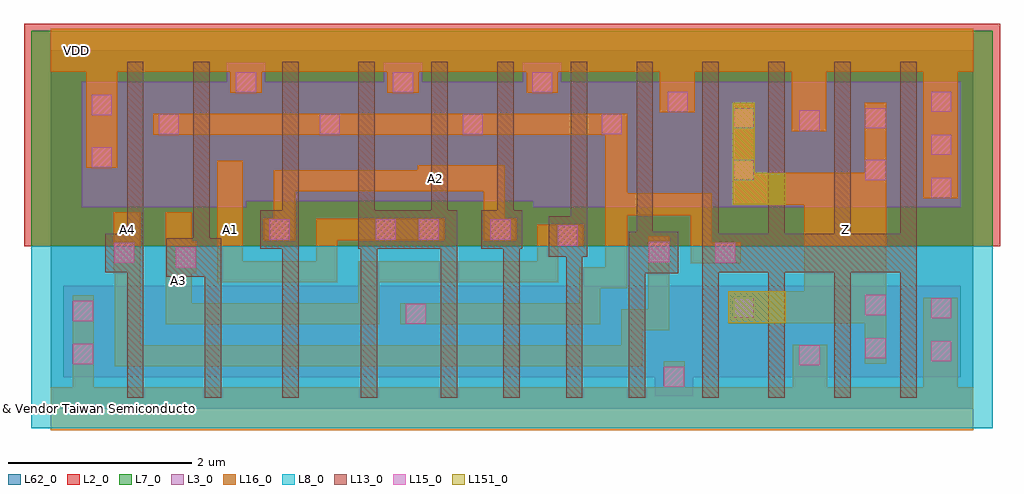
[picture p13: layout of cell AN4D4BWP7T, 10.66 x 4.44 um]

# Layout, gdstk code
import gdstk
lib = gdstk.Library(unit=1e-6, precision=1e-09)
def R(c, l, rs):  # rectangles x0, y0, x1, y1
    for r in rs: c.add(gdstk.rectangle(r[:2], r[2:], *l))
def A(c, l, x, y, w, h, nx, ny, dx, dy):  # array of equal rectangles
    R(c, l, [(x+i*dx, y+j*dy, x+i*dx+w, y+j*dy+h) for i in range(nx) for j in range(ny)])
def P(c, l, *ps):  # polygons
    for p in ps: c.add(gdstk.Polygon(p, *l))
L2_0 = (2, 0)
L3_0 = (3, 0)
L7_0 = (7, 0)
L8_0 = (8, 0)
L13_0 = (13, 0)
L15_0 = (15, 0)
L16_0 = (16, 0)
L62_0 = (62, 0)
L151_0 = (151, 0)

an4d4bwp7t = lib.new_cell('AN4D4BWP7T')
R(an4d4bwp7t, L2_0, [(-0.29,1.775,10.37,4.21)])
P(an4d4bwp7t, L3_0, [(0.34,2.205),(0.34,3.575),(1.925,3.575),(1.925,3.78),(2.345,3.78),(2.345,3.575),(3.64,3.575),(3.64,3.78),(4.06,3.78),(4.06,3.575),(5.16,3.575),(5.16,3.78),(5.58,3.78),(5.58,3.575),(9.94,3.575),(9.94,2.205),(5.27,2.205),(5.27,2.27),(2.135,2.27),(2.135,2.205)],
  [(0.14,0.345),(6.6,0.345),(6.6,0.14),(7.02,0.14),(7.02,0.345),(9.94,0.345),(9.94,1.345),(0.14,1.345)])
R(an4d4bwp7t, L7_0, [(-0.21,1.775,10.29,4.13)])
R(an4d4bwp7t, L8_0, [(-0.21,-0.21,10.29,1.775)])
P(an4d4bwp7t, L13_0, [(0.595,1.495),(0.835,1.495),(0.835,0.125),(1.015,0.125),(1.015,3.795),(0.835,3.795),(0.835,1.915),(0.595,1.915)],
  [(2.53,0.125),(2.53,1.75),(2.29,1.75),(2.29,2.17),(2.53,2.17),(2.53,3.795),(2.71,3.795),(2.71,0.125)],
  [(4.945,0.125),(4.945,1.75),(4.705,1.75),(4.705,2.17),(4.88,2.17),(4.88,3.795),(5.06,3.795),(5.06,2.17),(5.15,2.17),(5.15,1.75),(5.125,1.75),(5.125,0.125)],
  [(7.12,0.125),(7.3,0.125),(7.3,1.495),(7.84,1.495),(7.84,0.125),(8.02,0.125),(8.02,1.495),(8.56,1.495),(8.56,0.125),(8.74,0.125),(8.74,1.495),(9.28,1.495),(9.28,0.125),(9.46,0.125),(9.46,3.795),(9.28,3.795),(9.28,1.915),(8.74,1.915),(8.74,3.795),(8.56,3.795),(8.56,1.915),(8.02,1.915),(8.02,3.795),(7.84,3.795),(7.84,1.915),(7.3,1.915),(7.3,3.795),(7.12,3.795)],
  [(6.315,0.125),(6.315,1.935),(6.4,1.935),(6.4,3.795),(6.58,3.795),(6.58,1.935),(6.855,1.935),(6.855,1.485),(6.495,1.485),(6.495,0.125)],
  [(3.39,0.125),(3.39,1.75),(3.36,1.75),(3.36,3.795),(3.54,3.795),(3.54,2.17),(4.16,2.17),(4.16,3.795),(4.34,3.795),(4.34,2.17),(4.44,2.17),(4.44,0.125),(4.26,0.125),(4.26,1.75),(3.57,1.75),(3.57,0.125)],
  [(1.685,0.125),(1.685,1.445),(1.265,1.445),(1.265,1.865),(1.56,1.865),(1.56,3.795),(1.74,3.795),(1.74,1.865),(1.865,1.865),(1.865,0.125)],
  [(5.63,0.125),(5.63,1.665),(5.44,1.665),(5.44,2.105),(5.68,2.105),(5.68,3.795),(5.86,3.795),(5.86,1.665),(5.81,1.665),(5.81,0.125)])
A(an4d4bwp7t, L15_0, 9.62, 2.305, 0.22, 0.22, 1, 3, 0, 0.47)
R(an4d4bwp7t, L15_0, [(6.7,0.24,6.92,0.46), (8.18,0.475,8.4,0.695), (0.245,0.49,0.465,0.71), (9.62,0.52,9.84,0.74), (8.9,0.555,9.12,0.775), (3.88,0.93,4.1,1.15), (0.245,0.96,0.465,1.18), (9.62,0.99,9.84,1.21), (7.46,0.995,7.68,1.215), (8.9,1.025,9.12,1.245), (1.365,1.545,1.585,1.765), (0.695,1.595,0.915,1.815), (7.26,1.595,7.48,1.815), (6.535,1.605,6.755,1.825), (5.54,1.785,5.76,2.005), (2.39,1.85,2.61,2.07), (3.55,1.85,3.77,2.07), (4.02,1.85,4.24,2.07), (4.805,1.85,5.025,2.07), (7.46,2.5,7.68,2.72), (8.9,2.5,9.12,2.72), (0.45,2.64,0.67,2.86), (1.18,3,1.4,3.22), (2.94,3,3.16,3.22), (4.5,3,4.72,3.22), (6.02,3,6.24,3.22), (8.18,3.04,8.4,3.26), (7.46,3.065,7.68,3.285), (8.9,3.065,9.12,3.285), (0.45,3.21,0.67,3.43), (6.74,3.245,6.96,3.465), (2.025,3.46,2.245,3.68), (3.74,3.46,3.96,3.68), (5.26,3.46,5.48,3.68)])
P(an4d4bwp7t, L16_0, [(7.4,0.935),(8.895,0.935),(8.895,0.495),(9.13,0.495),(9.13,3.345),(8.895,3.345),(8.895,2.58),(7.69,2.58),(7.69,3.345),(7.45,3.345),(7.45,2.23),(8.23,2.23),(8.23,1.285),(7.4,1.285)],
  [(0.69,1.475),(0.7,1.475),(0.7,0.465),(6.465,0.465),(6.465,0.86),(6.76,0.86),(6.76,1.885),(6.53,1.885),(6.53,1.09),(6.235,1.09),(6.235,0.695),(0.98,0.695),(0.98,2.15),(0.69,2.15)],
  [(9.53,2.3),(9.53,3.685),(8.475,3.685),(8.475,3.035),(8.095,3.035),(8.095,3.685),(7.035,3.685),(7.035,3.24),(6.655,3.24),(6.655,3.685),(5.54,3.685),(5.54,3.455),(5.2,3.455),(5.2,3.685),(4.02,3.685),(4.02,3.455),(3.68,3.455),(3.68,3.685),(2.305,3.685),(2.305,3.455),(1.965,3.455),(1.965,3.685),(0.73,3.685),(0.73,2.635),(0.39,2.635),(0.39,3.685),(0,3.685),(0,4.155),(10.08,4.155),(10.08,3.685),(9.91,3.685),(9.91,2.3)],
  [(0,-0.235),(0,0.235),(0.24,0.235),(0.24,1.24),(0.47,1.24),(0.47,0.235),(6.695,0.235),(6.695,0.52),(6.925,0.52),(6.925,0.235),(8.105,0.235),(8.105,0.7),(8.485,0.7),(8.485,0.235),(9.53,0.235),(9.53,1.215),(9.91,1.215),(9.91,0.235),(10.08,0.235),(10.08,-0.235)],
  [(1.26,0.925),(1.26,2.15),(1.54,2.15),(1.54,1.825),(1.59,1.825),(1.59,1.485),(1.54,1.485),(1.54,1.155),(3.36,1.155),(3.36,1.615),(5.315,1.615),(5.315,2.01),(5.82,2.01),(5.82,1.78),(5.545,1.78),(5.545,1.385),(3.59,1.385),(3.59,0.925)],
  [(3.82,0.925),(3.82,1.155),(5.775,1.155),(5.775,1.55),(6.06,1.55),(6.06,2.995),(1.12,2.995),(1.12,3.225),(6.3,3.225),(6.3,2.355),(7.22,2.355),(7.22,1.82),(7.54,1.82),(7.54,1.59),(6.99,1.59),(6.99,2.115),(6.3,2.115),(6.3,1.32),(6.005,1.32),(6.005,0.925)],
  [(2.33,1.845),(2.33,2.075),(2.44,2.075),(2.44,2.61),(4.01,2.61),(4.01,2.66),(4.96,2.66),(4.96,2.075),(5.085,2.075),(5.085,1.845),(4.73,1.845),(4.73,2.38),(2.67,2.38),(2.67,1.845)],
  [(1.82,1.385),(1.82,2.71),(2.1,2.71),(2.1,1.615),(2.9,1.615),(2.9,2.075),(4.3,2.075),(4.3,1.845),(3.13,1.845),(3.13,1.385)])
R(an4d4bwp7t, L62_0, [(0,0,10.08,3.92)])
R(an4d4bwp7t, L151_0, [(7.4,0.935,8.03,1.285)])
P(an4d4bwp7t, L151_0, [(7.45,2.23),(7.45,3.345),(7.69,3.345),(7.69,2.58),(8.03,2.58),(8.03,2.23)])
an4d4bwp7t.add(gdstk.Label('& Vendor Taiwan Semiconductor Manufacturing Corp.', (0,0), layer=63, texttype=63))
an4d4bwp7t.add(gdstk.Label('& Product tcb018gbwp7t', (0,0), layer=63, texttype=63))
an4d4bwp7t.add(gdstk.Label('& Version 270a', (0,0), layer=63, texttype=63))
an4d4bwp7t.add(gdstk.Label('& Metric 39.514', (0,0), layer=63, texttype=63))
an4d4bwp7t.add(gdstk.Label('& Distributor TSMC', (0,0), layer=63, texttype=63))
an4d4bwp7t.add(gdstk.Label('& SerialNumber 000000', (0,0), layer=63, texttype=63))
an4d4bwp7t.add(gdstk.Label('& _Instance_tag AN4D4BWP7T', (0,0), layer=63, texttype=63))
an4d4bwp7t.add(gdstk.Label('& Vendor Taiwan Semiconductor Manufacturing Corp.', (0,0), layer=11, texttype=0))
an4d4bwp7t.add(gdstk.Label('& Product tcb018gbwp7t', (0,0), layer=11, texttype=0))
an4d4bwp7t.add(gdstk.Label('& Version 270a', (0,0), layer=11, texttype=0))
an4d4bwp7t.add(gdstk.Label('& Metric 39.514', (0,0), layer=11, texttype=0))
an4d4bwp7t.add(gdstk.Label('& Distributor TSMC', (0,0), layer=11, texttype=0))
an4d4bwp7t.add(gdstk.Label('& SerialNumber 000000', (0,0), layer=11, texttype=0))
an4d4bwp7t.add(gdstk.Label('& _Instance_tag AN4D4BWP7T', (0,0), layer=11, texttype=0))
an4d4bwp7t.add(gdstk.Label('AN4D4BWP7T', (0,0), layer=59, texttype=0))
an4d4bwp7t.add(gdstk.Label('VDD', (0.28,3.92), layer=40, texttype=0))
an4d4bwp7t.add(gdstk.Label('VSS', (0.28,0), layer=40, texttype=0))
an4d4bwp7t.add(gdstk.Label('Z', (8.68,1.96), layer=40, texttype=0))
an4d4bwp7t.add(gdstk.Label('A2', (4.2,2.52), layer=40, texttype=0))
an4d4bwp7t.add(gdstk.Label('A3', (1.4,1.4), layer=40, texttype=0))
an4d4bwp7t.add(gdstk.Label('A4', (0.84,1.96), layer=40, texttype=0))
an4d4bwp7t.add(gdstk.Label('A1', (1.96,1.96), layer=40, texttype=0))

lib.write_gds('AN4D4BWP7T.gds')
